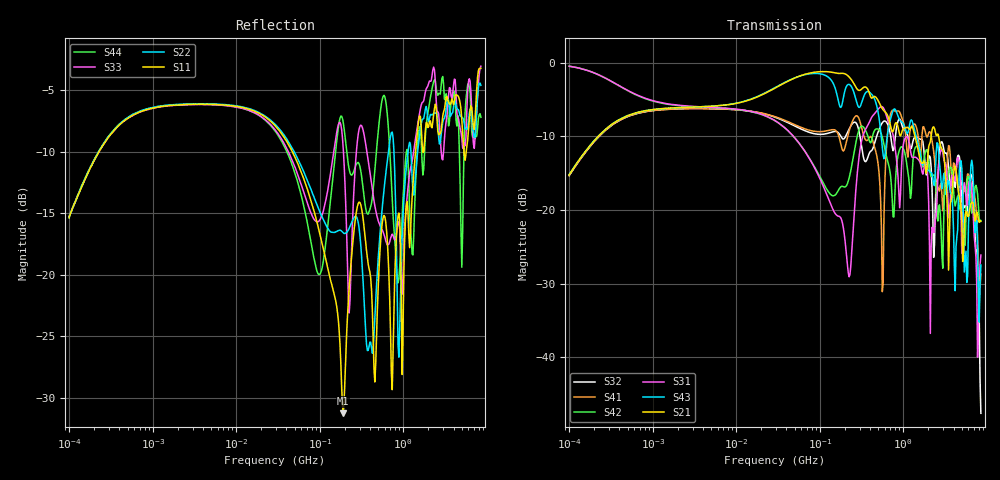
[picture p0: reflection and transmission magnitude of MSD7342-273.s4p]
# MHz S MA R 50
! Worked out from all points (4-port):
!   498 points, 100 kHz to 8.5 GHz, reference 50 ohm
!   strongest paths, dB at 100 kHz, 1.698 MHz, 29.49 MHz, 500.7 MHz, 8.5 GHz:
!     S21: -15.2, -6.1, -3.4, -5.2, -21.5
!     S43: -15.2, -6.2, -3.4, -6.8, -27.5
!     S31: -0.5, -5.7, -7.9, -6.3, -26.1
!     S42: -0.5, -5.7, -7.9, -9.0, -21.4
!     S41: -15.3, -6.3, -7.4, -13.8, -28.7
!     S32: -15.3, -6.3, -7.4, -9.4, -47.6
!   lowest |S11| = -31.2 dB at 191.9 MHz (marker M1), VSWR 1.06, Z = 47.8 + j1.58 ohm
!   |S11| at or under -10 dB: 46.93 MHz to 1.404 GHz (1.357 GHz wide, 187 % of centre); 1.715 GHz to 1.76 GHz (44.37 MHz wide, 2.55 % of centre); 5.342 GHz to 5.677 GHz (334.9 MHz wide, 6.08 % of centre)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
0.1  0.1704 68.5  0.1731 69.1  0.9447 -9.8  0.1709 -111.3
     0.1731 69.1  0.1702 68.5  0.1711 -111.4  0.9459 -9.9
     0.9447 -9.8  0.1711 -111.4  0.1724 68.7  0.1735 68.9
     0.1709 -111.3  0.9459 -9.9  0.1735 68.9  0.1723 68.4
21.41962  0.4404 -29.5  0.6124 12.2  0.4401 -34.2  0.4515 141.1
          0.6124 12.2  0.4444 -25.6  0.4494 145.0  0.4387 -34.4
          0.4401 -34.2  0.4494 145.0  0.4307 -24.8  0.6168 10.9
          0.4515 141.1  0.4387 -34.4  0.6168 10.9  0.4288 -29.0
191.855  0.0274 143.1  0.8449 -44.0  0.07555 33.7  0.2511 18.2
         0.8449 -44.0  0.1481 -60.4  0.3027 27.7  0.1439 115.5
         0.07555 33.7  0.3027 27.7  0.3199 -78.2  0.5764 -33.6
         0.2511 18.2  0.1439 115.5  0.5764 -33.6  0.4128 -57.6
1718.441  0.3138 149.7  0.2066 101.8  0.175 97.5  0.3653 115.6
          0.2066 101.8  0.4287 163.5  0.2897 87.7  0.1954 102.9
          0.175 97.5  0.2897 87.7  0.5022 163.5  0.2018 87.9
          0.3653 115.6  0.1954 102.9  0.2018 87.9  0.254 155.1
2476.442  0.4808 27.9  0.3217 -6.8  0.09055 58.1  0.1457 -30.3
          0.3217 -6.8  0.4538 40.5  0.1495 46.0  0.1356 -46.1
          0.09055 58.1  0.1495 46.0  0.5139 14.6  0.2412 21.6
          0.1457 -30.3  0.1356 -46.1  0.2412 21.6  0.5775 36.6
6611.76  0.4768 167.9  0.1122 -72.3  0.1385 143.0  0.1205 135.0
         0.1122 -72.3  0.4398 -172.8  0.1692 134.8  0.0951 138.5
         0.1385 143.0  0.1692 134.8  0.4548 177.7  0.2173 -133.9
         0.1205 135.0  0.0951 138.5  0.2173 -133.9  0.3777 140.2
8500  0.6881 -63.2  0.08366 15.9  0.04941 -6.7  0.03668 -75.8
      0.08366 15.9  0.5871 -69.9  0.004164 -148.2  0.08472 -112.5
      0.04941 -6.7  0.004164 -148.2  0.7026 -55.7  0.04225 66.4
      0.03668 -75.8  0.08472 -112.5  0.04225 66.4  0.4358 -75.6
